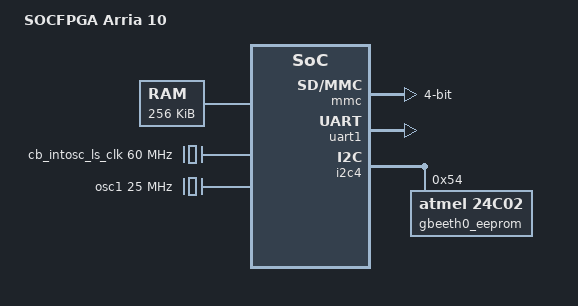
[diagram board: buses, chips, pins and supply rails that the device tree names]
/*
 * An Arria 10 platform, minimal for xloader config
 * - OCRAM memory only
 * - emmc to hold FPGA image, once programmed will allow access to main memory
 * - serial console on second uart
 */
/dts-v1/;
#include <dt-bindings/interrupt-controller/arm-gic.h>

/ {
	model = "SOCFPGA Arria 10";
	compatible = "arria10,plat";

	aliases {
		serial0 = &uart1;
		eeprom1 = &gbeeth0_eeprom;
		mmc0 = &mmc;
	};

	chosen {
		linux,stdout-path = &uart1;

		environment@0 {
			compatible = "barebox,environment";
			device-path = &mmc, "partname:1";
			file-path = "barebox.env";
		};

		fpga-binary {
			file-path = "/fpga-firmware.rbf";
		};
	};

	memory {
		name = "memory";
		device_type = "memory";
		reg = <0xffe00000 0x40000>;
	};

	intc: intc@ffffd000 {
		compatible = "arm,cortex-a9-gic";
		#interrupt-cells = <3>;
		interrupt-controller;
		reg = <0xffffd000 0x1000>,
			<0xffffc100 0x100>;
	};

	soc {
		#address-cells = <1>;
		#size-cells = <1>;
		compatible = "simple-bus";
		device_type = "soc";
		interrupt-parent = <&intc>;
		ranges;

		base_fpga_region {
			#address-cells = <0x1>;
			#size-cells = <0x1>;

			compatible = "fpga-region";
			fpga-mgr = <&fpga_mgr>;
		};

		mmc: dwmmc0@ff808000 {
			#address-cells = <1>;
			#size-cells = <0>;
			compatible = "altr,socfpga-dw-mshc";
			reg = <0xff808000 0x1000>;
			interrupts = <0 98 IRQ_TYPE_LEVEL_HIGH>;
			fifo-depth = <0x400>;
			clocks = <&l4_mp_clk>, <&sdmmc_clk>;
			clock-names = "biu", "ciu";
			status = "disabled";
		};

		uart1: serial1@ffc02100 {
			compatible = "snps,dw-apb-uart";
			reg = <0xffc02100 0x100>;
			interrupts = <0 111 IRQ_TYPE_LEVEL_HIGH>;
			reg-shift = <2>;
			reg-io-width = <4>;
			clocks = <&l4_sp_clk>;
			status = "disabled";
		};

		i2c4: i2c@ffc02600 {
			#address-cells = <1>;
			#size-cells = <0>;
			compatible = "snps,designware-i2c";
			reg = <0xffc02600 0x100>;
			interrupts = <0 109 IRQ_TYPE_LEVEL_HIGH>;
			clocks = <&l4_sp_clk>;
			status = "disabled";
		};

		fpga_mgr: fpga-mgr@ffd03000 {
			compatible = "altr,socfpga-a10-fpga-mgr";
			reg = <0xffd03000 0x100
				0xffcfe400 0x20>;
			clocks = <&l4_mp_clk>;
			reset-names = "fpgamgr";
		};

		clkmgr@ffd04000 {
			compatible = "altr,clk-mgr";
			reg = <0xffd04000 0x1000>;

			clocks {
				#address-cells = <1>;
				#size-cells = <0>;

				cb_intosc_hs_div2_clk: cb_intosc_hs_div2_clk {
					#clock-cells = <0>;
					compatible = "fixed-clock";
					clock-frequency = <0>;
				};

				cb_intosc_ls_clk: cb_intosc_ls_clk {
					#clock-cells = <0>;
					compatible = "fixed-clock";
					clock-frequency = <60000000>;
				};

				f2s_free_clk: f2s_free_clk {
					#clock-cells = <0>;
					compatible = "fixed-clock";
					clock-frequency = <200000000>;
				};

				osc1: osc1 {
					#clock-cells = <0>;
					compatible = "fixed-clock";
					clock-frequency = <25000000>;
				};

				main_pll: main_pll@40 {
					#address-cells = <1>;
					#size-cells = <0>;
					#clock-cells = <0>;
					compatible = "altr,socfpga-a10-pll-clock";
					clocks = <&osc1>, <&cb_intosc_ls_clk>,
						<&f2s_free_clk>;
					reg = <0x40>;

					main_noc_base_clk: main_noc_base_clk {
						#clock-cells = <0>;
						compatible = "altr,socfpga-a10-perip-clk";
						clocks = <&main_pll>;
						div-reg = <0x144 0 11>;
					};
					main_periph_ref_clk: main_periph_ref_clk@9c {
						#clock-cells = <0>;
						compatible = "altr,socfpga-a10-perip-clk";
						clocks = <&main_pll>;
						reg = <0x9C>;
					};
					main_sdmmc_clk: main_sdmmc_clk@78 {
						#clock-cells = <0>;
						compatible = "altr,socfpga-a10-perip-clk";
						clocks = <&main_pll>;
						reg = <0x78>;
					};
				};

				periph_pll: periph_pll@c0 {
					#address-cells = <1>;
					#size-cells = <0>;
					#clock-cells = <0>;
					compatible = "altr,socfpga-a10-pll-clock";
					clocks = <&osc1>, <&cb_intosc_ls_clk>,
						<&f2s_free_clk>, <&main_periph_ref_clk>;
					reg = <0xC0>;

					peri_noc_base_clk: peri_noc_base_clk {
						#clock-cells = <0>;
						compatible = "altr,socfpga-a10-perip-clk";
						clocks = <&periph_pll>;
						div-reg = <0x144 16 11>;
					};
					peri_sdmmc_clk: peri_sdmmc_clk@f8 {
						#clock-cells = <0>;
						compatible = "altr,socfpga-a10-perip-clk";
						clocks = <&periph_pll>;
						reg = <0xF8>;
					};
				};

				noc_free_clk: noc_free_clk@64 {
					#clock-cells = <0>;
					compatible = "altr,socfpga-a10-perip-clk";
					clocks = <&main_noc_base_clk>, <&peri_noc_base_clk>,
						<&osc1>, <&cb_intosc_hs_div2_clk>,
						<&f2s_free_clk>;
					reg = <0x64>;
				};

				sdmmc_free_clk: sdmmc_free_clk@f8 {
					#clock-cells = <0>;
					compatible = "altr,socfpga-a10-perip-clk";
					clocks = <&main_sdmmc_clk>, <&peri_sdmmc_clk>,
						<&osc1>, <&cb_intosc_hs_div2_clk>,
						<&f2s_free_clk>;
					fixed-divider = <4>;
					reg = <0xF8>;
				};

				l4_main_clk: l4_main_clk {
					#clock-cells = <0>;
					compatible = "altr,socfpga-a10-gate-clk";
					clocks = <&noc_free_clk>;
					div-reg = <0xA8 0 2>;
					clk-gate = <0x48 1>;
				};

				l4_mp_clk: l4_mp_clk {
					#clock-cells = <0>;
					compatible = "altr,socfpga-a10-gate-clk";
					clocks = <&noc_free_clk>;
					div-reg = <0xA8 8 2>;
					clk-gate = <0x48 2>;
				};

				l4_sp_clk: l4_sp_clk {
					#clock-cells = <0>;
					compatible = "altr,socfpga-a10-gate-clk";
					clocks = <&noc_free_clk>;
					div-reg = <0xA8 16 2>;
					clk-gate = <0x48 3>;
				};

				sdmmc_clk: sdmmc_clk {
					#clock-cells = <0>;
					compatible = "altr,socfpga-a10-gate-clk";
					clocks = <&sdmmc_free_clk>;
					clk-gate = <0xC8 5>;
					clk-phase = <0 135>;
				};
			};
		};
	};
};

&i2c4 {
	speed-mode = <0>;
	status = "okay";

	gbeeth0_eeprom: eth0_eeprom@54 {
		compatible = "atmel,24c02";
		reg = <0x54>;
		pagesize = <16>;
	};
};

&mmc {
	supports-highspeed;
	broken-cd;
	bus-width = <4>;
	status = "okay";
};

&uart1 {
	reg-io-width = <4>;
	status = "okay";
};
